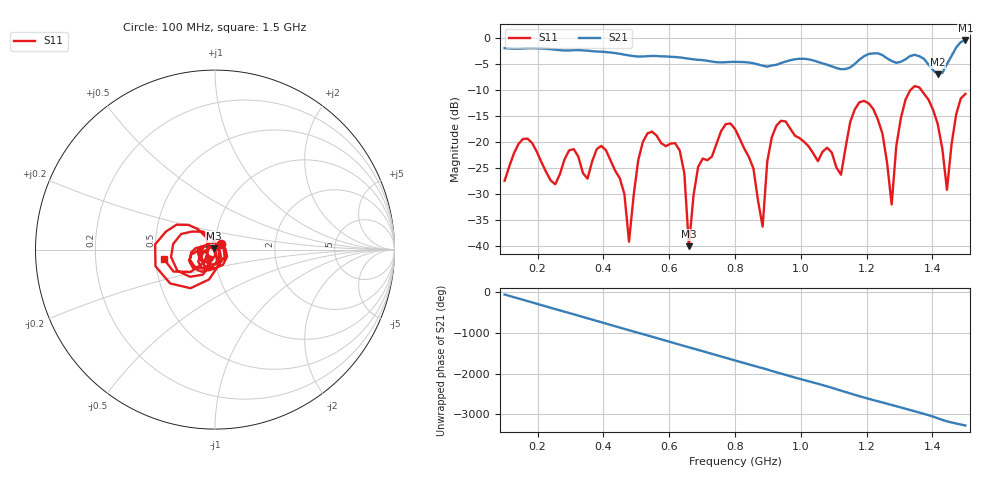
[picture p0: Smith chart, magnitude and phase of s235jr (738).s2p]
! NanoVNA-App
! Date: 2025-09-25 15:09:55
! Start: 100MHz Stop: 1,5GHz Points: 101
! S-Parameter data: F S11 S21 S12 S22
# Hz S RI R 50
!  Frequency  S11_Real  S11_Imag  S21_Real  S21_Imag  S12_Real  S12_Imag  S22_Real  S22_Imag
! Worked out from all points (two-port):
!   101 points, 100 MHz to 1.5 GHz, reference 50 ohm
!   highest |S21| = -0.48 dB at 1.5 GHz (marker M1); lowest = -7.0 dB at 1.416 GHz (marker M2)
!   |S21| within 3 dB of the highest: start of sweep to 490.6 MHz; 1.193 GHz to 1.252 GHz (59.03 MHz wide, 4.83 % of centre) (the widest 2 of 5)
!   lowest |S11| = -40.1 dB at 660 MHz (marker M3), VSWR 1.02, Z = 49.2 + j0.624 ohm
!   |S11| at or under -10 dB: start of sweep to 1.334 GHz; 1.366 GHz to end of sweep
!   S12 and S22 are empty: the file has one direction only
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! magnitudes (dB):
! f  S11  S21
! 100 MHz  -27.5  -2.0
! 156 MHz  -19.4  -2.0
! 338 MHz  -26.0  -2.4
! 408 MHz  -21.6  -2.7
! 478 MHz  -39.2  -3.4
! 520 MHz  -20.0  -3.6
! 576 MHz  -20.3  -3.5
! 632 MHz  -21.6  -3.7
! 660 MHz  -40.1  -4.0
! 688 MHz  -24.8  -4.2
! 800 MHz  -17.5  -4.6
! 884 MHz  -36.3  -5.3
! 898 MHz  -23.8  -5.5
! 926 MHz  -16.9  -5.2
! 1.038 GHz  -22.2  -4.3
! 1.122 GHz  -26.3  -6.0
! 1.206 GHz  -12.6  -3.1
! 1.276 GHz  -32.0  -4.4
! 1.332 GHz  -10.1  -3.5
! 1.416 GHz  -16.6  -7.0
! 1.444 GHz  -29.2  -5.0
! 1.5 GHz  -10.8  -0.5
